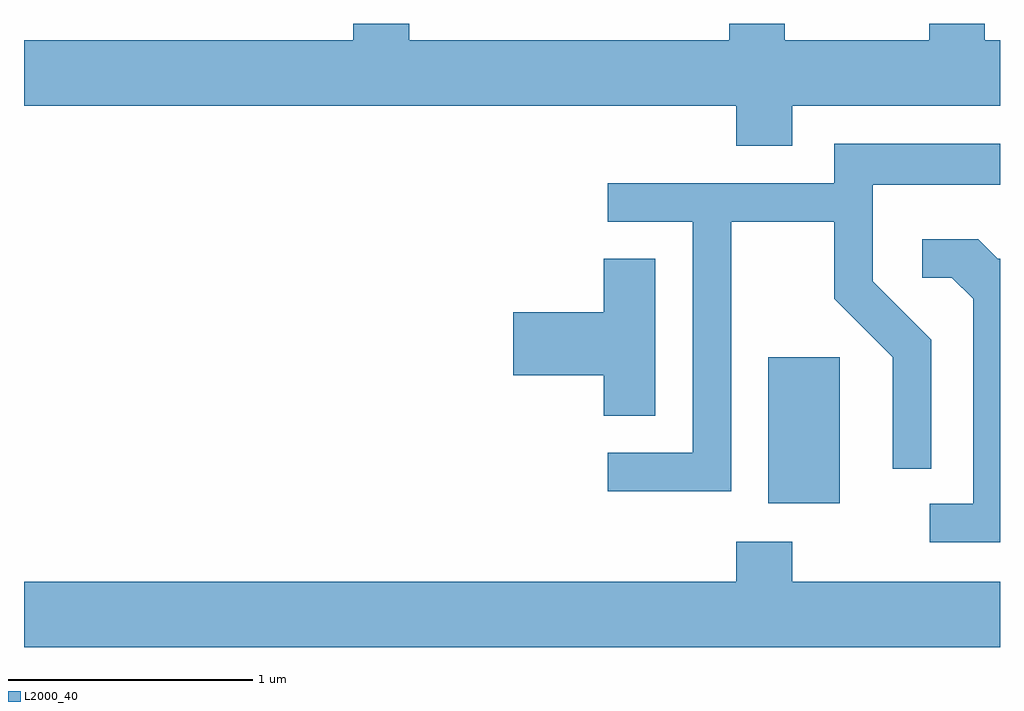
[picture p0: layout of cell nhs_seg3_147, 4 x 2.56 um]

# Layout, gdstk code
import gdstk
lib = gdstk.Library(unit=1e-6, precision=1e-09)
def R(c, l, rs):  # rectangles x0, y0, x1, y1
    for r in rs: c.add(gdstk.rectangle(r[:2], r[2:], *l))
def P(c, l, *ps):  # polygons
    for p in ps: c.add(gdstk.Polygon(p, *l))
L2000_40 = (2000, 40)

nhs_seg3_147 = lib.new_cell('nhs_seg3_147')
R(nhs_seg3_147, L2000_40, [(192.661,1139.926,192.954,1140.524)])
P(nhs_seg3_147, L2000_40, [(192.759,1141.556),(193.611,1141.556),(193.611,1141.824),(193.549,1141.824),(193.549,1141.892),(193.321,1141.892),(193.321,1141.824),(192.729,1141.824),(192.729,1141.892),(192.501,1141.892),(192.501,1141.824),(191.189,1141.824),(191.189,1141.892),(190.961,1141.892),(190.961,1141.824),(189.611,1141.824),(189.611,1141.556),(192.531,1141.556),(192.531,1141.391),(192.759,1141.391)],
  [(192.509,1141.081),(192.931,1141.081),(192.931,1140.764),(193.171,1140.524),(193.171,1140.068),(193.329,1140.068),(193.329,1140.597),(193.089,1140.837),(193.089,1141.231),(193.611,1141.231),(193.611,1141.399),(192.931,1141.399),(192.931,1141.239),(192.003,1141.239),(192.003,1141.081),(192.351,1141.081),(192.351,1140.134),(192.003,1140.134),(192.003,1139.976),(192.509,1139.976)],
  [(193.611,1140.929),(193.602,1140.929),(193.522,1141.009),(193.293,1141.009),(193.293,1140.851),(193.414,1140.851),(193.501,1140.764),(193.501,1139.924),(193.323,1139.924),(193.323,1139.766),(193.611,1139.766)],
  [(192.199,1140.929),(191.986,1140.929),(191.986,1140.709),(191.616,1140.709),(191.616,1140.451),(191.986,1140.451),(191.986,1140.286),(192.199,1140.286)],
  [(193.611,1139.604),(192.759,1139.604),(192.759,1139.769),(192.531,1139.769),(192.531,1139.604),(189.611,1139.604),(189.611,1139.336),(193.611,1139.336)])

lib.write_gds('nhs_seg3_147.gds')
